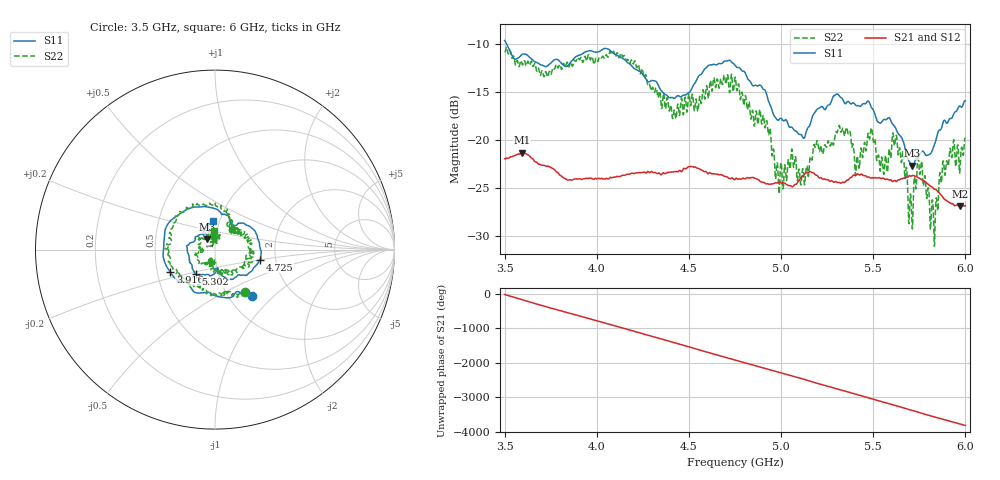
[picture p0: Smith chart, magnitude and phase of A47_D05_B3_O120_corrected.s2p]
! Created with skrf 1.9.0 (http://scikit-rf.org).
# Hz S RI R 50.0
!freq ReS11 ImS11 ReS21 ImS21 ReS12 ImS12 ReS22 ImS22
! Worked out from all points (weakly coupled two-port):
!   1601 points, 3.5 GHz to 6 GHz, reference 50 ohm
!   highest |S21| = -21.34 dB at 3.594 GHz (marker M1); lowest = -26.9 dB at 5.97 GHz (marker M2)
!   lowest |S11| = -22.7 dB at 5.713 GHz (marker M3), VSWR 1.16, Z = 45.3 + j5.18 ohm
!   |S11| at or under -10 dB: 3.511 GHz to end of sweep
!   |S22| runs from -31.1 to -10.3 dB; largest |S21 - S12| = 0.0011
!   S11 on the Smith chart (normalised r, x): 3.5 GHz: 1.28, -0.74; 3.916 GHz: 0.59, -0.16; 4.725 GHz: 1.66, -0.20; 5.302 GHz: 0.78, -0.22; 6 GHz: 0.93, +0.30
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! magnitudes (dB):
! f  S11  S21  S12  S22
! 3.5 GHz  -9.6  -22.0  -21.9  -10.9
! 3.594 GHz  -11.1  -21.3  -21.3  -12.0
! 3.916 GHz  -11.1  -24.1  -24.1  -11.4
! 3.917 GHz  -11.1  -24.1  -24.1  -11.5
! 4.141 GHz  -11.5  -23.7  -23.7  -11.3
! 4.334 GHz  -14.4  -23.5  -23.4  -15.5
! 4.42 GHz  -15.7  -23.3  -23.3  -16.9
! 4.725 GHz  -11.7  -24.0  -23.9  -14.4
! 4.75 GHz  -12.2  -24.1  -24.0  -13.5
! 4.931 GHz  -15.9  -24.6  -24.5  -19.5
! 4.98 GHz  -17.9  -24.5  -24.4  -22.4
! 5.167 GHz  -17.7  -23.4  -23.3  -22.1
! 5.302 GHz  -15.2  -24.4  -24.3  -19.2
! 5.412 GHz  -16.5  -23.5  -23.5  -21.7
! 5.584 GHz  -17.7  -24.2  -24.1  -21.3
! 5.617 GHz  -18.6  -24.2  -24.2  -20.5
! 5.713 GHz  -22.7  -23.7  -23.6  -29.3
! 5.752 GHz  -21.5  -24.0  -23.9  -23.5
! 5.822 GHz  -21.0  -24.9  -24.9  -26.3
! 5.872 GHz  -18.7  -25.8  -25.7  -24.0
! 5.97 GHz  -16.5  -26.9  -26.8  -23.2
! 6 GHz  -15.9  -26.9  -26.8  -19.8
